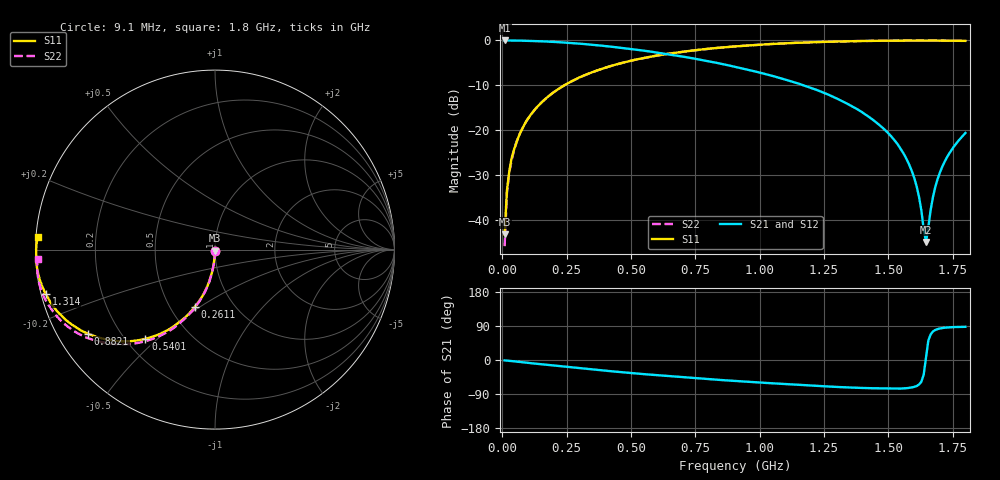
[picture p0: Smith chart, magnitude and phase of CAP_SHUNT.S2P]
!Agilent Technologies,E5071C,MY46101151,A.11.02
!Date: Sun Sep 24 17:02:44 2017
!Data & Calibration Information:
!Freq	S11:SOLT2(ON)	S21:SOLT2(ON)	S12:SOLT2(ON)	S22:SOLT2(ON)
!PortZ  Port1:50+j0  Port2:50+j0
!Above PortZ is port z conversion or system Z0 setting when saving the data.
!When reading, reference impedance value at option line is always used.
# Hz S dB R 50
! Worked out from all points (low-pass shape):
!   200 points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, 9.1 MHz to 1.8 GHz, reference 50 ohm
!   highest |S21| = 0.00 dB at 9.1 MHz (marker M1); lowest = -45.0 dB at 1.647 GHz (marker M2)
!   |S21| within 3 dB of the highest: start of sweep to 636.5 MHz
!   lowest |S11| = -43.3 dB at 9.1 MHz (marker M3), VSWR 1.01, Z = 49.9 - j0.682 ohm
!   |S11| at or under -10 dB: start of sweep to 240.9 MHz
!   |S22| runs from -45.9 to 0.0 dB; largest |S21 - S12| = 0.0021
!   S11 on the Smith chart (normalised r, x): 9.1 MHz: 1.00, -0.01; 261.1 MHz: 0.66, -0.48; 540.1 MHz: 0.28, -0.46; 882.1 MHz: 0.09, -0.30; 1.314 GHz: 0.01, -0.13; 1.8 GHz: 0.01, +0.04
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9099500  -43.25 -96.4  0.00 -1.0  0.00 -1.1  -45.86 -97.5
1.8099e7  -33.48 -91.2  0.00 -1.6  -0.00 -1.6  -33.99 -89.1
2.70985e7  -29.22 -92.5  -0.00 -2.2  -0.01 -2.2  -29.51 -91.3
3.6098e7  -26.27 -94.4  -0.01 -2.7  -0.01 -2.8  -26.80 -92.1
6.30965e7  -21.49 -95.8  -0.03 -4.8  -0.03 -4.8  -21.44 -95.1
1.350925e8  -14.84 -100.3  -0.15 -10.1  -0.15 -10.1  -14.86 -100.0
2.610855e8  -9.36 -109.6  -0.53 -19.0  -0.53 -18.9  -9.37 -108.9
3.150825e8  -7.86 -113.3  -0.78 -22.6  -0.77 -22.6  -7.90 -112.5
5.4007e8  -4.02 -127.9  -2.20 -36.7  -2.20 -36.6  -4.03 -126.4
6.12066e8  -3.26 -132.1  -2.79 -40.7  -2.78 -40.7  -3.26 -130.5
8.82051e8  -1.43 -146.4  -5.58 -54.3  -5.57 -54.3  -1.43 -143.8
9.090495e8  -1.31 -147.7  -5.92 -55.5  -5.92 -55.4  -1.31 -144.9
1.206033e9  -0.39 -160.9  -10.71 -67.4  -10.69 -67.2  -0.38 -157.0
1.314027e9  -0.23 -165.3  -13.33 -71.5  -13.32 -71.4  -0.23 -160.9
1.503016e9  -0.04 -172.9  -20.84 -75.3  -20.83 -75.3  -0.04 -167.5
1.593012e9  -0.02 -176.4  -29.28 -72.2  -29.29 -72.0  -0.02 -170.5
1.62001e9  -0.03 -177.3  -34.93 -64.5  -34.93 -64.4  -0.02 -171.4
1.647008e9  -0.03 -178.4  -44.95 7.8  -44.95 7.9  -0.02 -172.3
1.674007e9  -0.03 -179.4  -34.89 75.2  -34.89 75.3  -0.02 -173.1
1.701006e9  -0.04 179.6  -29.44 83.3  -29.42 83.4  -0.04 -173.9
1.746003e9  -0.06 177.8  -24.44 86.6  -24.41 86.6  -0.06 -175.4
1.8e9  -0.09 175.9  -20.62 87.6  -20.63 87.5  -0.09 -177.0
